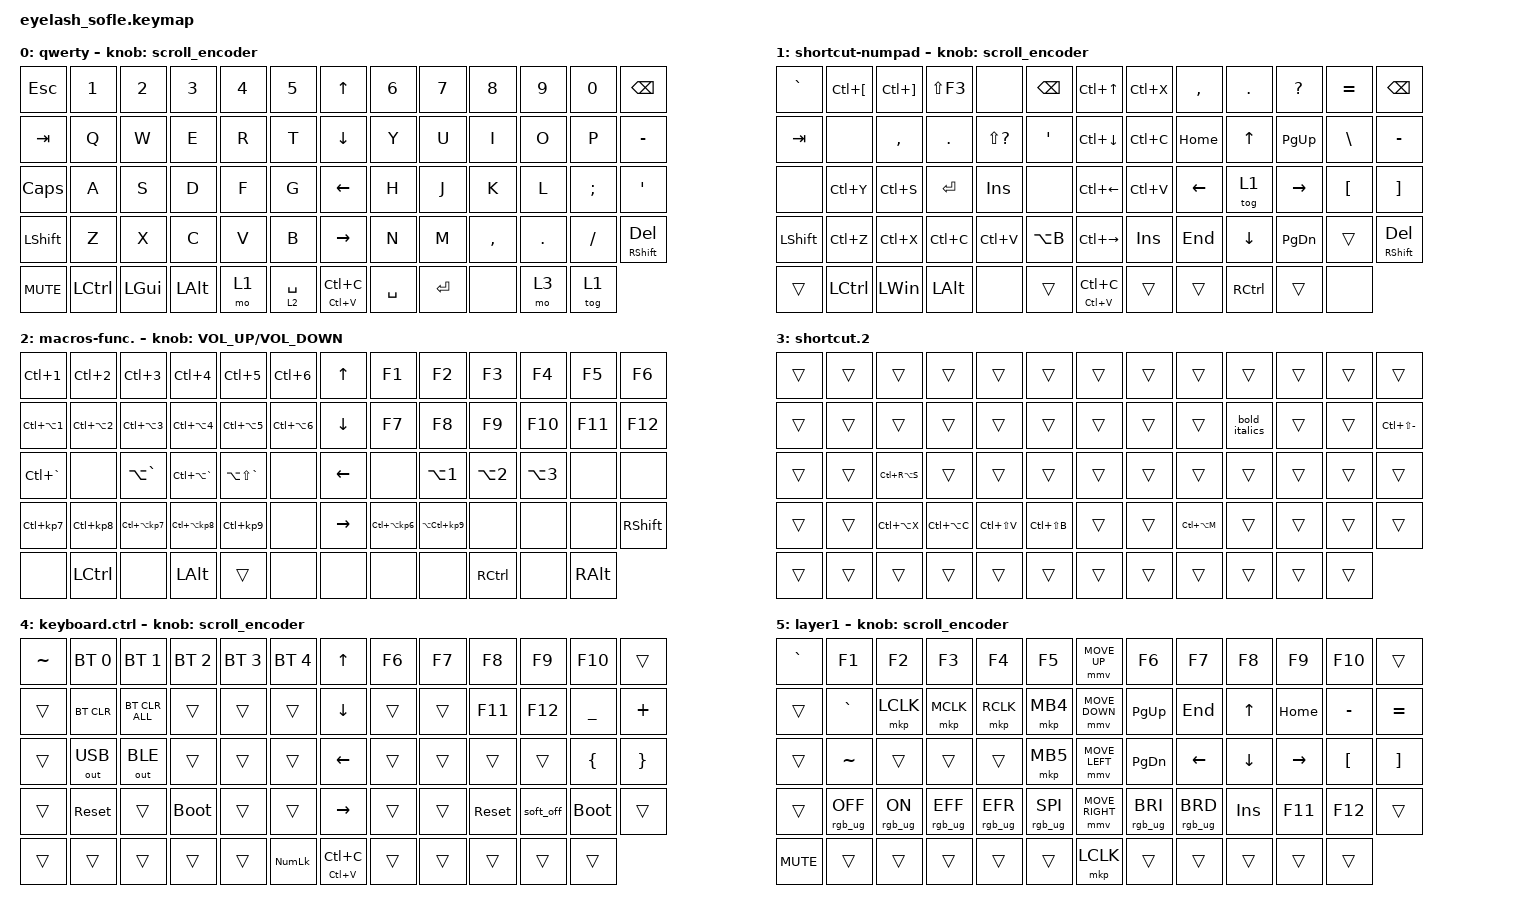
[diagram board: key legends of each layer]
#include <input/processors.dtsi>
#include <zephyr/dt-bindings/input/input-event-codes.h>
#include <behaviors.dtsi>
#include <dt-bindings/zmk/bt.h>
#include <dt-bindings/zmk/keys.h>
#include <dt-bindings/zmk/outputs.h>
#include <dt-bindings/zmk/pointing.h>
#include <dt-bindings/zmk/rgb.h>
#include <behaviors/runtime-sensor-rotate.dtsi>

/ {
    zip_scroll_scaler: zip_scroll_scaler {
        compatible = "zmk,input-processor-scaler";
        #input-processor-cells = <2>;
        type = <INPUT_EV_REL>;
        codes = <INPUT_REL_WHEEL INPUT_REL_HWHEEL>;
        track-remainders;
    };
};

&mmv_input_listener { input-processors = <&zip_xy_scaler 2 1>; };

&msc_input_listener { input-processors = <&zip_scroll_scaler 6 1>; }; // ori: 2 1 (works pefectly with smooth scrolling=y)

&msc {
    acceleration-exponent = <0>;      // 0
    time-to-max-speed-ms = <0>;       // 300
    delay-ms = <0>;                   // 0
};

&mmv {
    time-to-max-speed-ms = <400>;
    acceleration-exponent = <1>;
};

&soft_off { hold-time-ms = <2000>; };

/ {
    behaviors {
        rsr_vol: rsr_vol {
            compatible = "zmk,behavior-runtime-sensor-rotate";
            #sensor-binding-cells = <0>;
            tap-ms = <5>;
            cw-binding = <&kp C_VOL_UP>;
            ccw-binding = <&kp C_VOL_DN>;
        };

        rsr_trans: rsr_trans {
            compatible = "zmk,behavior-runtime-sensor-rotate";
            #sensor-binding-cells = <0>;
            tap-ms = <0>;
        };
    };

    macros {
        Court_Yes: Court_Yes {
            compatible = "zmk,behavior-macro";
            #binding-cells = <0>;
            bindings = <&kp LA(C) &kp LS(Y) &kp E &kp S>;
            label = "COURT_YES";
        };

        agree_ag: agree_ag {
            compatible = "zmk,behavior-macro";
            #binding-cells = <0>;
            bindings = <&none &kp A &kp G>;
            label = "AGREE_AG";
        };

        disagree_dg: disagree_dg {
            compatible = "zmk,behavior-macro";
            #binding-cells = <0>;
            bindings = <&none &kp D &kp G>;
            label = "DISAGREE_DG";
        };

        your_honour: your_honour {
            compatible = "zmk,behavior-macro";
            #binding-cells = <0>;
            bindings = <&none &kp Y &kp H>;
            label = "YOUR_HONOUR";
        };

        agreement: agreement {
            compatible = "zmk,behavior-macro";
            #binding-cells = <0>;
            bindings = <&none &kp A &kp G &kp M &kp T>;
            label = "AGREEMENT";
        };

        witness: witness {
            compatible = "zmk,behavior-macro";
            #binding-cells = <0>;
            bindings = <&none &kp W &kp I &kp T &kp N>;
            label = "WITNESS";
        };

        witnesses: witnesses {
            compatible = "zmk,behavior-macro";
            #binding-cells = <0>;
            bindings = <&none &kp W &kp I &kp T &kp N &kp S>;
            label = "WITNESSES";
        };

        space_backspace: space_backspace {
            compatible = "zmk,behavior-macro";
            #binding-cells = <0>;
            bindings = <&none &kp SPACE &kp BACKSPACE>;
            label = "SPACE_BACKSPACE";
        };

        bold_italics: bold_italics {
            compatible = "zmk,behavior-macro";
            #binding-cells = <0>;
            bindings = <&none &kp LC(B) &kp LC(I)>;
            label = "BOLD_ITALICS";
        };

        ok: ok {
            compatible = "zmk,behavior-macro";
            #binding-cells = <0>;
            bindings = <&none &kp O &kp K>;
            label = "OK";
        };

        r8: r8 {
            compatible = "zmk,behavior-macro";
            #binding-cells = <0>;
            bindings = <&none &kp R &kp N8>;
            label = "R8";
        };

        a8: a8 {
            compatible = "zmk,behavior-macro";
            #binding-cells = <0>;
            bindings = <&none &kp A &kp N8>;
            label = "A8";
        };

        yk: yk {
            compatible = "zmk,behavior-macro";
            #binding-cells = <0>;
            bindings = <&none &kp Y &kp K>;
            label = "YK";
        };

        num_yes: num_yes {
            compatible = "zmk,behavior-macro";
            #binding-cells = <0>;
            bindings = <&none &kp Y &kp E &kp S>;
            label = "NUM_YES";
        };

        num_yah: num_yah {
            compatible = "zmk,behavior-macro";
            #binding-cells = <0>;
            bindings = <&none &kp Y &kp A>;
            label = "NUM_YAH";
        };

        num_no: num_no {
            compatible = "zmk,behavior-macro";
            #binding-cells = <0>;
            bindings = <&none &kp N &kp O>;
            label = "NUM_NO";
        };

        num_sorry: num_sorry {
            compatible = "zmk,behavior-macro";
            #binding-cells = <0>;
            bindings = <&none &kp S &kp Y>;
            label = "NUM_SORRY";
        };

        num_Now: num_Now {
            compatible = "zmk,behavior-macro";
            #binding-cells = <0>;
            bindings = <&none &kp N &kp W>;
            label = "NUM_NOW";
        };

        num_so: num_so {
            compatible = "zmk,behavior-macro";
            #binding-cells = <0>;
            bindings = <&none &kp S &kp O>;
            label = "NUM_SO";
        };

        num_ty: num_ty {
            compatible = "zmk,behavior-macro";
            #binding-cells = <0>;
            bindings = <&none &kp T &kp Y>;
            label = "NUM_TY";
        };

        sticky_space: sticky_space {
            compatible = "zmk,behavior-macro";
            #binding-cells = <0>;
            bindings = <&none &kp LS(LC(SPACE))>;
            label = "STICKY_SPACE";
        };

        num_cr: num_cr {
            compatible = "zmk,behavior-macro";
            #binding-cells = <0>;
            bindings = <&none &kp C &kp R>;
            label = "NUM_CR";
        };

        num_sir: num_sir {
            compatible = "zmk,behavior-macro";
            #binding-cells = <0>;
            bindings = <&none &kp S &kp I &kp R>;
            label = "NUM_SIR";
        };

        num_the: num_the {
            compatible = "zmk,behavior-macro";
            #binding-cells = <0>;
            bindings = <&none &kp T &kp H &kp E>;
            label = "NUM_THE";
        };

        numpad_is: numpad_is {
            compatible = "zmk,behavior-macro";
            #binding-cells = <0>;
            bindings = <&none &kp I &kp S>;
            label = "NUMPAD_IS";
        };

        wer_shortcut: wer_shortcut {
            compatible = "zmk,behavior-macro";
            #binding-cells = <0>;
            bindings = <&none &kp W &kp E &kp R>;
            label = "WER_SHORTCUT";
        };

        rew_shortcut: rew_shortcut {
            compatible = "zmk,behavior-macro";
            #binding-cells = <0>;
            bindings = <&none &kp R &kp E &kp W>;
            label = "REW_SHORTCUT";
        };

        sdf_shortcut: sdf_shortcut {
            compatible = "zmk,behavior-macro";
            #binding-cells = <0>;
            bindings = <&none &kp S &kp D &kp F>;
            label = "SDF_SHORTCUT";
        };

        fds_shortcut: fds_shortcut {
            compatible = "zmk,behavior-macro";
            #binding-cells = <0>;
            bindings = <&none &kp F &kp D &kp S>;
            label = "FDS_SHORTCUT";
        };

        can_numpad: can_numpad {
            compatible = "zmk,behavior-macro";
            #binding-cells = <0>;
            bindings = <&none &kp C &kp A &kp N>;
            label = "CAN_NUMPAD";
        };

        sure_numpad: sure_numpad {
            compatible = "zmk,behavior-macro";
            #binding-cells = <0>;
            bindings = <&none &kp S &kp U &kp R &kp E>;
            label = "SURE_NUMPAD";
        };

        del_bold_numpad: del_bold_numpad {
            compatible = "zmk,behavior-macro";
            #binding-cells = <0>;
            bindings = <&none &kp D &kp E &kp L &kp SPACE &kp BACKSPACE>;
            label = "DEL_BOLD_NUMPAD";
        };

        numpad_and: numpad_and {
            compatible = "zmk,behavior-macro";
            #binding-cells = <0>;
            bindings = <&none &kp A &kp N &kp D>;
            label = "NUMPAD_AND";
        };

        numpad_im: numpad_im {
            compatible = "zmk,behavior-macro";
            #binding-cells = <0>;
            bindings = <&none &kp I &kp M>;
            label = "NUMPAD_IM";
        };

        you_numpad: you_numpad {
            compatible = "zmk,behavior-macro";
            #binding-cells = <0>;
            bindings = <&none &kp Y &kp O &kp U>;
            label = "YOU_NUMPAD";
        };
    };

    combos {
        compatible = "zmk,combos";

        softoff {
            bindings = <&soft_off>;
            key-positions = <14 28 40>;

        Court_Yes {
            bindings = <&Court_Yes>;
            key-positions = <31 44 0>;
            layers = <0 1>;
        };

        your_honour {
            bindings = <&your_honour>;
            key-positions = <20 33>;
            layers = <0 1>;
        };

        agree {
            bindings = <&agree_ag>;
            key-positions = <27 31>;
            layers = <1>;
        };

        disagree {
            bindings = <&disagree_dg>;
            key-positions = <29 31>;
            layers = <1>;
        };

        agreement {
            bindings = <&agreement>;
            key-positions = <27 18 31>;
            layers = <0>;
        };

        witness {
            bindings = <&witness>;
            key-positions = <15 18>;
            layers = <1>;
        };

        witnesses {
            bindings = <&witnesses>;
            key-positions = <15 18 28>;
            layers = <1>;
        };

        space_backspace {
            bindings = <&space_backspace>;
            key-positions = <59 12>;
            layers = <0 1>;
        };

        fullscreen_shot {
            bindings = <&kp LG(PRINTSCREEN)>;
            key-positions = <56 5>;
            layers = <0>;
        };

        keyboard.ctrl {
            bindings = <&mo 4>;
            key-positions = <62 56>;
        };

        ok {
            bindings = <&ok>;
            key-positions = <23 35>;
            layers = <1>;
        };

        r8 {
            bindings = <&r8>;
            key-positions = <17 9>;
            layers = <1 0>;
        };

        a8 {
            bindings = <&a8>;
            key-positions = <27 9>;
            layers = <1 0>;
        };

        yk {
            bindings = <&yk>;
            key-positions = <20 35>;
            layers = <0 1>;
        };

        num_yes {
            bindings = <&num_yes>;
            key-positions = <20 28>;
            layers = <1>;
        };

        num_no {
            bindings = <&num_no>;
            key-positions = <46 23>;
            layers = <1>;
        };

        num_sorry {
            bindings = <&num_sorry>;
            key-positions = <28 20 17>;
            layers = <1 0>;
        };

        num_Now {
            bindings = <&num_Now>;
            key-positions = <46 15>;
            layers = <1 0>;
        };

        num_yah {
            bindings = <&num_yah>;
            key-positions = <20 27>;
            layers = <1>;
        };

        num_so {
            bindings = <&num_so>;
            key-positions = <28 23>;
            layers = <1>;
        };

        num_ty {
            bindings = <&num_ty>;
            key-positions = <18 20>;
            layers = <1 0>;
        };

        sticky_space {
            bindings = <&sticky_space>;
            key-positions = <57 59>;
            layers = <0 1>;
        };

        num_cr {
            bindings = <&num_cr>;
            key-positions = <42 17>;
            layers = <1 0>;
        };

        num_sir {
            bindings = <&num_sir>;
            key-positions = <28 22 17>;
            layers = <1 0>;
        };

        num_the {
            bindings = <&num_the>;
            key-positions = <18 33>;
            layers = <1>;
        };

        num_is {
            bindings = <&numpad_is>;
            key-positions = <22 28>;
            layers = <1>;
        };

        wer_numpad {
            bindings = <&wer_shortcut>;
            key-positions = <15 16 17>;
            layers = <1>;
        };

        rew_numpad {
            bindings = <&rew_shortcut>;
            key-positions = <16 17 18>;
            layers = <1>;
        };

        sdf_numpad {
            bindings = <&sdf_shortcut>;
            key-positions = <28 29 30>;
            layers = <1>;
        };

        fds_numpad {
            bindings = <&fds_shortcut>;
            key-positions = <29 30 31>;
            layers = <1>;
        };

        can_numpad {
            bindings = <&can_numpad>;
            key-positions = <42 27 46>;
            layers = <1>;
        };

        sure_numpad {
            bindings = <&sure_numpad>;
            key-positions = <28 17 21>;
            layers = <1>;
        };

        del_bold_numpad {
            bindings = <&del_bold_numpad>;
            key-positions = <51 29>;
            layers = <1>;
        };

        numpad_and {
            bindings = <&numpad_and>;
            key-positions = <39 8>;
            layers = <1>;
        };

        numpad_im {
            bindings = <&numpad_im>;
            key-positions = <22 47>;
            layers = <1>;
        };

        you_numpad {
            bindings = <&you_numpad>;
            key-positions = <20 21>;
            layers = <1>;
        };
    };

    keymap {
        compatible = "zmk,keymap";

        qwerty {
            bindings = <
&kp ESC     &kp N1     &kp N2        &kp N3        &kp N4  &kp N5         &kp UP_ARROW     &kp N6     &kp N7     &kp N8     &kp N9   &kp N0    &kp BACKSPACE
&kp TAB     &kp Q      &kp W         &kp E         &kp R   &kp T          &kp DOWN_ARROW   &kp Y      &kp U      &kp I      &kp O    &kp P     &kp MINUS
&kp CAPS    &kp A      &kp S         &kp D         &kp F   &kp G          &kp LEFT_ARROW   &kp H      &kp J      &kp K      &kp L    &kp SEMI  &kp APOS
&kp LSHFT   &kp Z      &kp X         &kp C         &kp V   &kp B          &kp RIGHT_ARROW  &kp N      &kp M      &kp COMMA  &kp DOT  &kp FSLH  &mt RIGHT_SHIFT DEL
&kp C_MUTE  &kp LCTRL  &kp LEFT_GUI  &kp LEFT_ALT  &mo 1   &lt 2 SPACE    &mt LC(V) LC(C)  &kp SPACE  &kp ENTER  &none      &mo 3    &tog 1
            >;

            sensor-bindings = <&scroll_encoder>;
            display-name = "qwerty";
        };

        shortcut-numpad {
            bindings = <
&kp GRAVE       &kp LC(LEFT_BRACKET)  &kp LC(RIGHT_BRACKET)  &kp LS(F3)    &none             &kp BACKSPACE       &kp LC(UP_ARROW)    &kp LC(X)  &kp COMMA  &kp PERIOD         &kp QUESTION   &kp EQUAL         &kp BACKSPACE
&kp TAB         &none                 &kp COMMA              &kp PERIOD    &kp LS(QUESTION)  &kp SINGLE_QUOTE    &kp LC(DOWN_ARROW)  &kp LC(C)  &kp HOME   &kp UP_ARROW       &kp PG_UP      &kp BACKSLASH     &kp MINUS
&none           &kp LC(Y)             &kp LC(S)              &kp ENTER     &kp INSERT        &none               &kp LC(LEFT_ARROW)  &kp LC(V)  &kp LEFT   &tog 1             &kp RIGHT      &kp LEFT_BRACKET  &kp RIGHT_BRACKET
&kp LEFT_SHIFT  &kp LC(Z)             &kp LC(X)              &kp LC(C)     &kp LC(V)         &kp LA(B)           &kp LC(RIGHT)       &kp INS    &kp END    &kp DOWN           &kp PAGE_DOWN  &trans            &mt RIGHT_SHIFT DELETE
&trans          &kp LEFT_CONTROL      &kp LEFT_WIN           &kp LEFT_ALT  &none             &trans              &mt LC(V) LC(C)     &trans     &trans     &kp RIGHT_CONTROL  &trans         &none
            >;

            display-name = "shortcut-numpad";
            sensor-bindings = <&scroll_encoder>;
        };

        macros-func. {
            bindings = <
&kp LC(NUMBER_1)      &kp LC(NUMBER_2)      &kp LC(NUMBER_3)      &kp LC(NUMBER_4)      &kp LC(N5)         &kp LC(NUMBER_6)        &kp UP_ARROW  &kp F1             &kp F2             &kp F3            &kp F4            &kp F5         &kp F6
&kp LC(LA(NUMBER_1))  &kp LC(LA(NUMBER_2))  &kp LC(LA(NUMBER_3))  &kp LC(LA(NUMBER_4))  &kp LC(LA(N5))     &kp LC(LA(NUMBER_6))    &kp DOWN      &kp F7             &kp F8             &kp F9            &kp F10           &kp F11        &kp F12
&kp LC(GRAVE)         &none                 &kp LA(GRAVE)         &kp LC(LA(GRAVE))     &kp LA(LS(GRAVE))  &none                   &kp LEFT      &none              &kp LA(NUMBER_1)   &kp LA(NUMBER_2)  &kp LA(NUMBER_3)  &none          &none
&kp LC(KP_N7)         &kp LC(KP_N8)         &kp LC(LA(KP_N7))     &kp LC(LA(KP_N8))     &kp LC(KP_N9)      &none                   &kp RIGHT     &kp LC(LA(KP_N6))  &kp LA(LC(KP_N9))  &none             &none             &none          &kp RSHIFT
&none                 &kp LCTRL             &none                 &kp LEFT_ALT          &trans             &none                   &none         &none              &none              &kp RCTRL         &none             &kp RIGHT_ALT
            >;

            display-name = "macros-func.";
            sensor-bindings = <&inc_dec_kp C_VOLUME_UP C_VOLUME_DOWN>;
        };

        shortcut.2 {
            bindings = <
&trans  &trans  &trans         &trans         &trans         &trans           &trans  &trans  &trans         &trans         &trans  &trans  &trans
&trans  &trans  &trans         &trans         &trans         &trans           &trans  &trans  &trans         &bold_italics  &trans  &trans  &kp LC(LS(MINUS))
&trans  &trans  &kp LC(RA(S))  &trans         &trans         &trans           &trans  &trans  &trans         &trans         &trans  &trans  &trans
&trans  &trans  &kp LC(LA(X))  &kp LC(LA(C))  &kp LC(LS(V))  &kp LC(LS(B))    &trans  &trans  &kp LC(LA(M))  &trans         &trans  &trans  &trans
&trans  &trans  &trans         &trans         &trans         &trans           &trans  &trans  &trans         &trans         &trans  &trans
            >;

            display-name = "shortcut.2";
        };

        keyboard.ctrl {
            bindings = <
&kp TILDE  &bt BT_SEL 0  &bt BT_SEL 1    &bt BT_SEL 2  &bt BT_SEL 3  &bt BT_SEL 4      &kp UP_ARROW     &kp F6  &kp F7  &kp F8      &kp F9     &kp F10      &trans
&trans     &bt BT_CLR    &bt BT_CLR_ALL  &trans        &trans        &trans            &kp DOWN         &trans  &trans  &kp F11     &kp F12    &kp UNDER    &kp PLUS
&trans     &out OUT_USB  &out OUT_BLE    &trans        &trans        &trans            &kp LEFT         &trans  &trans  &trans      &trans     &kp LBRC     &kp RBRC
&trans     &sys_reset    &trans          &bootloader   &trans        &trans            &kp RIGHT        &trans  &trans  &sys_reset  &soft_off  &bootloader  &trans
&trans     &trans        &trans          &trans        &trans        &kp KP_NUMLOCK    &mt LC(V) LC(C)  &trans  &trans  &trans      &trans     &trans
            >;

            display-name = "keyboard.ctrl";
            sensor-bindings = <&scroll_encoder>;
        };

        layer_1 {
            bindings = <
&kp GRAVE   &kp F1           &kp F2          &kp F3           &kp F4           &kp F5             &mmv MOVE_UP     &kp F6           &kp F7           &kp F8      &kp F9     &kp F10           &trans
&trans      &kp GRAVE        &mkp LCLK       &mkp MCLK        &mkp RCLK        &mkp MB4           &mmv MOVE_DOWN   &kp PG_UP        &kp END          &kp UP      &kp HOME   &kp MINUS         &kp EQUAL
&trans      &kp TILDE        &trans          &trans           &trans           &mkp MB5           &mmv MOVE_LEFT   &kp PG_DN        &kp LEFT         &kp DOWN    &kp RIGHT  &kp LEFT_BRACKET  &kp RIGHT_BRACKET
&trans      &rgb_ug RGB_OFF  &rgb_ug RGB_ON  &rgb_ug RGB_EFF  &rgb_ug RGB_EFR  &rgb_ug RGB_SPI    &mmv MOVE_RIGHT  &rgb_ug RGB_BRI  &rgb_ug RGB_BRD  &kp INSERT  &kp F11    &kp F12           &trans
&kp C_MUTE  &trans           &trans          &trans           &trans           &trans             &mkp LCLK        &trans           &trans           &trans      &trans     &trans
            >;

            display-name = "layer1";
            sensor-bindings = <&scroll_encoder>;
        };
    };
};
